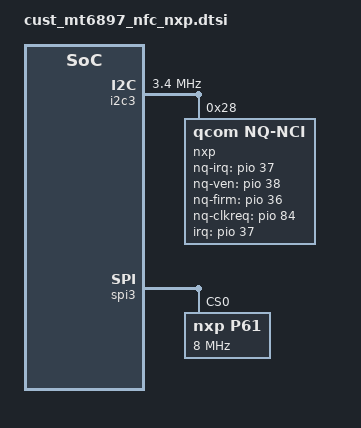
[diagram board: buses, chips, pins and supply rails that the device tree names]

//NFCC for Mediateckstart
&i2c3 {
    status = "okay";
    clock-frequency = <3400000>;
    nxp@28 {
        compatible = "qcom,nq-nci";
        reg = <0x28>;
        qcom,nq-irq         = <&pio 37 0x00>;
        interrupt-parent    = <&pio>;
        interrupts          = <37 IRQ_TYPE_LEVEL_HIGH 37 0>;
        qcom,nq-ven         = <&pio 38 0x0>;
        qcom,nq-firm        = <&pio 36 0x0>;
        qcom,nq-clkreq      = <&pio 84 0x0>;
        interrupt-names = "nfc_irq";
        pinctrl-names   = "default", "nfc_active", "nfc_suspend";
        pinctrl-0 = <&nfc_default>;
        pinctrl-1 = <&nfc_int_active &nfc_enable_active
                    &nfc_clk_req_active &nfc_firmwaredownload_active>;
        pinctrl-2 = <&nfc_int_suspend &nfc_enable_suspend
                    &nfc_clk_req_suspend &nfc_firmwaredownload_suspend>;
    };
};
//&clock_buffer_ctrl {
//    mediatek,xo-bbck4 = <1>;
//};
&pio {
    nfc_default: nfc_default {
    };
    nfc_int_active: nfc_int_active {
        pins_cmd_dat {
            pinmux = <PINMUX_GPIO37__FUNC_GPIO37>;
            slew-rate = <0>;
            drive-strength = <MTK_DRIVE_2mA>;
            bias-pull-up;
        };
    };
    nfc_int_suspend: nfc_int_suspend {
        pins_cmd_dat {
            pinmux = <PINMUX_GPIO37__FUNC_GPIO37>;
            slew-rate = <0>;
            drive-strength = <MTK_DRIVE_2mA>;
            bias-pull-up;
        };
    };
    nfc_enable_active: nfc_enable_active {
        pins_cmd_dat {
            pinmux = <PINMUX_GPIO38__FUNC_GPIO38>;
            slew-rate = <1>;
            output-high;
            drive-strength = <MTK_DRIVE_2mA>;
            bias-pull-up=<MTK_PUPD_SET_R1R0_11>;
        };
    };
    nfc_enable_suspend: nfc_enable_suspend {
        pins_cmd_dat {
            pinmux = <PINMUX_GPIO38__FUNC_GPIO38>;
            slew-rate = <1>;
            drive-strength = <MTK_DRIVE_2mA>;
            bias-disable;
        };
    };
    nfc_firmwaredownload_active: nfc_firmwaredownload_active {
        pins_cmd_dat {
            pinmux = <PINMUX_GPIO36__FUNC_GPIO36>;
            slew-rate = <1>;
            drive-strength = <MTK_DRIVE_2mA>;
            bias-pull-up;
        };
    };
    nfc_firmwaredownload_suspend: nfc_firmwaredownload_suspend {
        pins_cmd_dat {
            pinmux = <PINMUX_GPIO36__FUNC_GPIO36>;
            slew-rate = <1>;
            drive-strength = <MTK_DRIVE_2mA>;
            bias-disable;
        };
    };
    nfc_clk_req_active: nfc_clk_req_active {
        pins_cmd_dat {
            pinmux = <PINMUX_GPIO84__FUNC_SRCLKENAI0>;
            slew-rate = <0>;
            input-enable;
            drive-strength = <MTK_DRIVE_2mA>;
            bias-pull-up;
        };
    };
    nfc_clk_req_suspend: nfc_clk_req_suspend {
        pins_cmd_dat {
            pinmux = <PINMUX_GPIO84__FUNC_SRCLKENAI0>;
            slew-rate = <0>;
            input-enable;
            drive-strength = <MTK_DRIVE_2mA>;
            bias-pull-down;
        };
    };
};
//NFCC end
/* eSE SPI configuration */
&spi3 {
    #address-cells = <1>;
    #size-cells = <0>;
    p61@31 {
        compatible = "nxp,p61";
        reg = <0>;
        nxp,nfcc = "3-0028";
        spi-max-frequency = <8000000>;
        status = "okay";
        pinctrl-names = "nxp_ese_spi_mode";
        pinctrl-0 = <&nxp_ese_spi_mode>;
    };
};
&pio {
    nxp_ese_spi_mode: nxp_ese_spi_mode {
        pins_cmd_dat {
            pinmux = <PINMUX_GPIO29__FUNC_SPI3_MI>,
                    <PINMUX_GPIO30__FUNC_SPI3_MO>,
                    <PINMUX_GPIO27__FUNC_SPI3_CLK>,
                    <PINMUX_GPIO28__FUNC_SPI3_CSB>;
            drive-strength = <6>;
        };
    };
};
/* eSE SPI configuration -- end */

